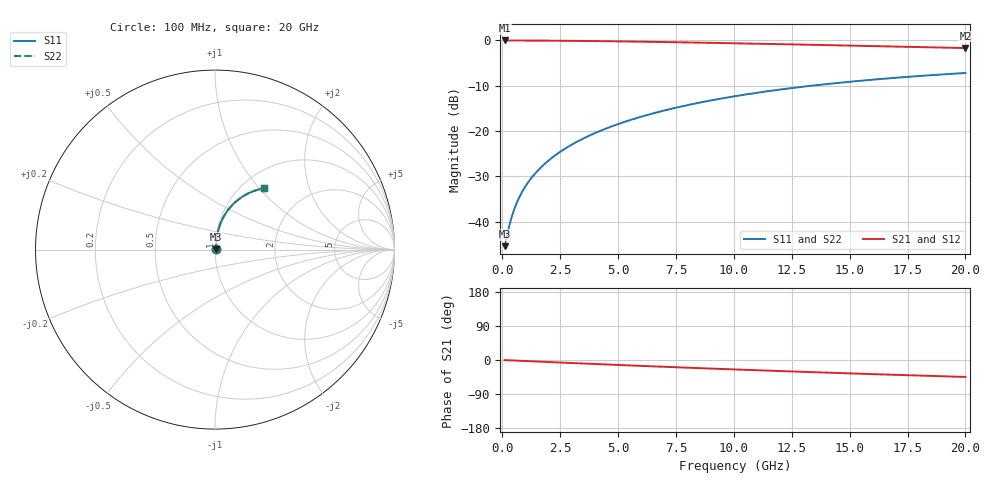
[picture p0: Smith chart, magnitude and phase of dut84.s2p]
! Touchstone file exported from HFSS 2024.1.0
!  File:  C:/UserFiles/LocalFiles/RDL_TSV_Batchsim/temp_RDL_top_84_1778682588.aedt
!  Generated:  10:32:26 PM May 13, 2026
!  Design:  RDL_top
!  Project:  temp_RDL_top_84_1778682588
!  Setup:  Setup1
!  Solution:  Sweep
! Variables:
!  dtsv = 10.80580581um
!  hbump = 3um
!  htsv = 70.3um
!  ldown = 100um
!  lrdl = 592.61um
!  p = 40
!  p1 = 53.6um
!  rhole = 1um
!  t = 450um
!  tdown = 3.915915916um
!  trdl = 2.33um
!  wdown = 15.38538539um
!  wrdl = 20.01um
# GHz S MA R 50.000000
! Terminal data exported
! Port[1] = Box2_T1
! Port[2] = Box2_T2
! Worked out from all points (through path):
!   200 points, 100 MHz to 20 GHz, reference 50 ohm
!   highest |S21| = -0.04 dB at 100 MHz (marker M1); lowest = -1.7 dB at 20 GHz (marker M2)
!   group delay of S21, straight-line fit = 6.19 ps
!   lowest |S11| = -45.4 dB at 100 MHz (marker M3), VSWR 1.01, Z = 50.5 + j0.255 ohm
!   |S11| at or under -10 dB: start of sweep to 13.4 GHz
!   |S22| runs from -45.4 to -7.2 dB; largest |S21 - S12| = 3.5e-15
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0.1  0.005367 28.1  0.9953 -0.3  0.9953 -0.3  0.005367 28.1
! Gamma 0 0 0 0
! Port Impedance 50 0 50 0
0.3  0.008991 56.2  0.995 -0.8  0.995 -0.8  0.008991 56.2
0.4  0.01115 62.3  0.9947 -1.1  0.9947 -1.1  0.01115 62.3
0.5  0.01336 66.3  0.9945 -1.4  0.9945 -1.4  0.01336 66.3
0.6  0.01558 69.1  0.9943 -1.7  0.9943 -1.7  0.01558 69.1
0.7  0.01781 71.2  0.994 -1.9  0.994 -1.9  0.01781 71.2
0.9  0.02227 74.1  0.9935 -2.5  0.9935 -2.5  0.02227 74.1
1.2  0.02901 76.9  0.9928 -3.3  0.9928 -3.3  0.02901 76.9
1.4  0.03353 78.1  0.9922 -3.8  0.9922 -3.8  0.03353 78.1
1.7  0.04038 79.3  0.9913 -4.6  0.9913 -4.6  0.04038 79.3
2.2  0.05193 80.5  0.9894 -5.9  0.9894 -5.9  0.05193 80.5
2.8  0.06599 81.1  0.9867 -7.5  0.9867 -7.5  0.06599 81.1
3.5  0.08265 81.1  0.9829 -9.3  0.9829 -9.3  0.08265 81.1
4.2  0.09953 80.7  0.9785 -11.1  0.9785 -11.1  0.09953 80.7
5  0.1191 79.8  0.9728 -13.1  0.9728 -13.1  0.1191 79.8
5.9  0.1412 78.6  0.9657 -15.3  0.9657 -15.3  0.1412 78.6
6.8  0.1634 77.2  0.9579 -17.5  0.9579 -17.5  0.1634 77.2
8.4  0.2025 74.2  0.943 -21.3  0.943 -21.3  0.2025 74.2
10.1  0.243 70.9  0.926 -25.1  0.926 -25.1  0.243 70.9
13.4  0.3163 64.1  0.8912 -32.1  0.8912 -32.1  0.3163 64.1
16.7  0.3808 57.6  0.8556 -38.6  0.8556 -38.6  0.3807 57.6
20  0.4359 51.5  0.8206 -44.7  0.8206 -44.7  0.4359 51.5
